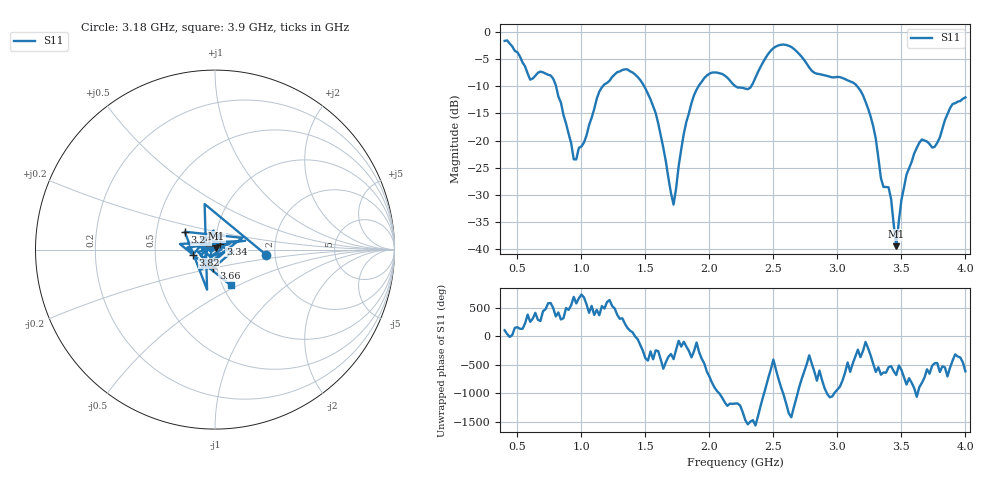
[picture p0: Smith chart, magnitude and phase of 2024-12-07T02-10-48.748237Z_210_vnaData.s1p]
!Created with skrf (http://scikit-rf.org).
# Hz S RI R 50.0
!freq ReS11 ImS11
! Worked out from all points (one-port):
!   181 points, 400 MHz to 4 GHz, reference 50 ohm
!   lowest |S11| = -39.4 dB at 3.46 GHz (marker M1), VSWR 1.02, Z = 50.8 + j0.718 ohm
!   |S11| at or under -10 dB: 801.8 MHz to 1.168 GHz (366 MHz wide, 37.2 % of centre); 1.49 GHz to 1.915 GHz (425.4 MHz wide, 25 % of centre); 3.154 GHz to end of sweep (the widest 3 of 4)
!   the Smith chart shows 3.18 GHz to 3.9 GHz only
!   S11 on the Smith chart (normalised r, x): 3.18 GHz: 1.80, -0.12; 3.24 GHz: 0.70, +0.14; 3.34 GHz: 1.06, +0.07; 3.66 GHz: 0.96, -0.20; 3.82 GHz: 0.78, -0.05; 3.9 GHz: 1.09, -0.46
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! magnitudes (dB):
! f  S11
! 400 MHz  -1.7
! 600 MHz  -8.8
! 760 MHz  -8.0
! 860 MHz  -15.3
! 960 MHz  -23.5
! 1.14 GHz  -11.0
! 1.3 GHz  -7.3
! 1.54 GHz  -12.4
! 1.72 GHz  -31.8
! 1.76 GHz  -24.7
! 1.82 GHz  -16.6
! 1.92 GHz  -9.8
! 2.2 GHz  -10.0
! 2.52 GHz  -2.7
! 2.66 GHz  -3.1
! 3.1 GHz  -9.1
! 3.18 GHz  -10.8
! 3.24 GHz  -14.2
! 3.34 GHz  -26.9
! 3.4 GHz  -28.6
! 3.46 GHz  -39.4
! 3.5 GHz  -31.0
! 3.56 GHz  -25.1
! 3.66 GHz  -19.8
! 3.76 GHz  -21.2
! 3.82 GHz  -17.9
! 3.9 GHz  -13.3
! 4 GHz  -12.1
